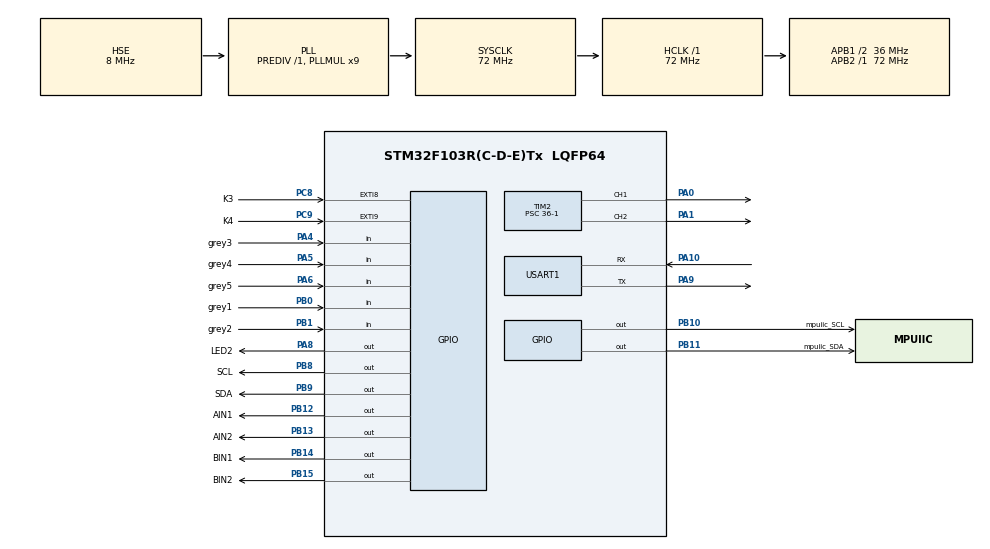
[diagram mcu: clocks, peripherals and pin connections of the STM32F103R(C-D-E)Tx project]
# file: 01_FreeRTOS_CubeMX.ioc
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Dma.Request0=USART1_RX
Dma.Request1=USART1_TX
Dma.USART1_RX.0.Direction=DMA_PERIPH_TO_MEMORY
Dma.USART1_RX.0.Instance=DMA1_Channel5
Dma.USART1_RX.0.MemDataAlignment=DMA_MDATAALIGN_BYTE
Dma.USART1_RX.0.MemInc=DMA_MINC_ENABLE
Dma.USART1_RX.0.Mode=DMA_NORMAL
Dma.USART1_RX.0.PeriphDataAlignment=DMA_PDATAALIGN_BYTE
Dma.USART1_RX.0.PeriphInc=DMA_PINC_DISABLE
Dma.USART1_RX.0.Priority=DMA_PRIORITY_LOW
Dma.USART1_TX.1.Direction=DMA_MEMORY_TO_PERIPH
Dma.USART1_TX.1.Instance=DMA1_Channel4
Dma.USART1_TX.1.MemDataAlignment=DMA_MDATAALIGN_BYTE
Dma.USART1_TX.1.MemInc=DMA_MINC_ENABLE
Dma.USART1_TX.1.Mode=DMA_NORMAL
Dma.USART1_TX.1.PeriphDataAlignment=DMA_PDATAALIGN_BYTE
Dma.USART1_TX.1.PeriphInc=DMA_PINC_DISABLE
Dma.USART1_TX.1.Priority=DMA_PRIORITY_LOW
FREERTOS.Tasks01=defaultTask,24,128,StartDefaultTask,Default,NULL,Dynamic,NULL,NULL
FREERTOS.configTIMER_TASK_PRIORITY=3
FREERTOS.configTOTAL_HEAP_SIZE=5200
Mcu.Family=STM32F1
Mcu.Name=STM32F103R(C-D-E)Tx
Mcu.Package=LQFP64
NVIC.DMA1_Channel4_IRQn=true\:5\:0\:false\:false\:true\:true\:false\:true
NVIC.DMA1_Channel5_IRQn=true\:5\:0\:false\:false\:true\:true\:false\:true
NVIC.EXTI9_5_IRQn=true\:5\:0\:true\:false\:true\:true\:true\:true
NVIC.PriorityGroup=NVIC_PRIORITYGROUP_4
NVIC.TIM6_IRQn=true\:15\:0\:false\:false\:true\:false\:false\:true
NVIC.TimeBase=TIM6_IRQn
NVIC.TimeBaseIP=TIM6
NVIC.USART1_IRQn=true\:5\:0\:false\:false\:true\:true\:true\:true
PA0-WKUP.Signal=S_TIM2_CH1_ETR
PA1.Signal=S_TIM2_CH2
PA10.GPIO_PuPd=GPIO_PULLUP
PA10.Mode=Asynchronous
PA10.Signal=USART1_RX
PA13.Mode=Serial_Wire
PA13.Signal=SYS_JTMS-SWDIO
PA14.Mode=Serial_Wire
PA14.Signal=SYS_JTCK-SWCLK
PA4.GPIO_Label=grey3
PA4.Signal=GPIO_Input
PA5.GPIO_Label=grey4
PA5.Signal=GPIO_Input
PA6.GPIO_Label=grey5
PA6.Signal=GPIO_Input
PA8.GPIO_Label=LED2
PA8.GPIO_Speed=GPIO_SPEED_FREQ_MEDIUM
PA8.PinState=GPIO_PIN_SET
PA8.Signal=GPIO_Output
PA9.Mode=Asynchronous
PA9.Signal=USART1_TX
PB0.GPIO_Label=grey1
PB0.GPIO_PuPd=GPIO_NOPULL
PB0.Signal=GPIO_Input
PB1.GPIO_Label=grey2
PB1.Signal=GPIO_Input
PB10.GPIO_Label=mpuiic_SCL
PB10.GPIO_Speed=GPIO_SPEED_FREQ_HIGH
PB10.PinState=GPIO_PIN_SET
PB10.Signal=GPIO_Output
PB11.GPIO_Label=mpuiic_SDA
PB11.GPIO_Speed=GPIO_SPEED_FREQ_HIGH
PB11.PinState=GPIO_PIN_SET
PB11.Signal=GPIO_Output
PB12.GPIO_Label=AIN1
PB12.GPIO_Speed=GPIO_SPEED_FREQ_HIGH
PB12.PinState=GPIO_PIN_RESET
PB12.Signal=GPIO_Output
PB13.GPIO_Label=AIN2
PB13.GPIO_Speed=GPIO_SPEED_FREQ_HIGH
PB13.PinState=GPIO_PIN_RESET
PB13.Signal=GPIO_Output
PB14.GPIO_Label=BIN1
PB14.GPIO_Speed=GPIO_SPEED_FREQ_HIGH
PB14.PinState=GPIO_PIN_SET
PB14.Signal=GPIO_Output
PB15.GPIO_Label=BIN2
PB15.GPIO_Speed=GPIO_SPEED_FREQ_HIGH
PB15.Signal=GPIO_Output
PB8.GPIO_Label=SCL
PB8.GPIO_ModeDefaultOutputPP=GPIO_MODE_OUTPUT_OD
PB8.GPIO_Speed=GPIO_SPEED_FREQ_HIGH
PB8.PinState=GPIO_PIN_SET
PB8.Signal=GPIO_Output
PB9.GPIO_Label=SDA
PB9.GPIO_ModeDefaultOutputPP=GPIO_MODE_OUTPUT_OD
PB9.GPIO_Speed=GPIO_SPEED_FREQ_HIGH
PB9.PinState=GPIO_PIN_SET
PB9.Signal=GPIO_Output
PC14-OSC32_IN.Mode=LSE-External-Oscillator
PC14-OSC32_IN.Signal=RCC_OSC32_IN
PC15-OSC32_OUT.Mode=LSE-External-Oscillator
PC15-OSC32_OUT.Signal=RCC_OSC32_OUT
PC8.GPIO_Label=K3
PC8.GPIO_ModeDefaultEXTI=GPIO_MODE_IT_RISING
PC8.GPIO_PuPd=GPIO_PULLUP
PC8.Signal=GPXTI8
PC9.GPIO_Label=K4
PC9.GPIO_PuPd=GPIO_PULLUP
PC9.Signal=GPXTI9
PD0-OSC_IN.Mode=HSE-External-Oscillator
PD0-OSC_IN.Signal=RCC_OSC_IN
PD1-OSC_OUT.Mode=HSE-External-Oscillator
PD1-OSC_OUT.Signal=RCC_OSC_OUT
ProjectManager.HeapSize=0x600
ProjectManager.StackSize=0x400
ProjectManager.TargetToolchain=MDK-ARM V5.32
RCC.AHBFreq_Value=72000000
RCC.APB1CLKDivider=RCC_HCLK_DIV2
RCC.APB1Freq_Value=36000000
RCC.APB1TimFreq_Value=72000000
RCC.APB2Freq_Value=72000000
RCC.APB2TimFreq_Value=72000000
RCC.HCLKFreq_Value=72000000
RCC.PLLMUL=RCC_PLL_MUL9
RCC.PLLSourceVirtual=RCC_PLLSOURCE_HSE
RCC.SYSCLKFreq_VALUE=72000000
RCC.SYSCLKSource=RCC_SYSCLKSOURCE_PLLCLK
RCC.USBFreq_Value=72000000
SH.S_TIM2_CH1_ETR.0=TIM2_CH1,PWM Generation1 CH1
SH.S_TIM2_CH2.0=TIM2_CH2,PWM Generation2 CH2
TIM2.AutoReloadPreload=TIM_AUTORELOAD_PRELOAD_DISABLE
TIM2.Channel-PWM\ Generation1\ CH1=TIM_CHANNEL_1
TIM2.Channel-PWM\ Generation2\ CH2=TIM_CHANNEL_2
TIM2.OCPolarity_2=TIM_OCPOLARITY_HIGH
TIM2.Period=100
TIM2.Prescaler=36-1
TIM2.Pulse-PWM\ Generation1\ CH1=0
TIM2.Pulse-PWM\ Generation2\ CH2=0
TIM7.AutoReloadPreload=TIM_AUTORELOAD_PRELOAD_ENABLE
USART1.VirtualMode=VM_ASYNC
VP_FREERTOS_VS_CMSIS_V2.Mode=CMSIS_V2
VP_SYS_VS_tim6.Mode=TIM6
VP_TIM2_VS_ClockSourceINT.Mode=Internal
VP_TIM7_VS_ClockSourceINT.Mode=Enable_Timer
board=custom

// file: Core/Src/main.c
/* USER CODE BEGIN Header */
/**
  ******************************************************************************
  * @file           : main.c
  * @brief          : Main program body
  ******************************************************************************
  * @attention
  *
  * <h2><center>&copy; Copyright (c) 2024 STMicroelectronics.
  * All rights reserved.</center></h2>
  *
  * This software component is licensed by ST under Ultimate Liberty license
  * SLA0044, the "License"; You may not use this file except in compliance with
  * the License. You may obtain a copy of the License at:
  *                             www.st.com/SLA0044
  *
  ******************************************************************************
  */
/* USER CODE END Header */
#include "main.h"
#include "cmsis_os.h"
#include "dma.h"
#include "tim.h"
#include "usart.h"
#include "gpio.h"

/* USER CODE BEGIN Includes */
#include "math.h"
#include "string.h"
#include "delay.h"
#include "FreeRTOS.h"
#include "semphr.h"
#include "task.h"
#include "queue.h"
#include "timers.h"
#include "list.h"
#include "serial.h"
#include "interrupt_callbacks.h"
#include "OLED.h"
#include "delay.h"
#include "stm32f1xx_hal_tim.h"
#include "stm32_hal_legacy.h"//�ɿ�
#include "MPU9250.h"                          //MPU9250(6050)
#include "inv_mpu.h"                          //
#include "inv_mpu_dmp_motion_driver.h"        //DMP输出库
#include "pid.h"
#include "greys.h"
/* USER CODE END Includes */

/* USER CODE BEGIN PTD */
xUSATR_TypeDef xUSART1={0} ;
u8 error;      //DMP库初始化错误号
float pitch,roll,yaw; 		//DMP库输出的欧拉角
float BaseSpeed=20;
uint8_t mode=0;                //小车模式 0表示停止，1走圈，2走八字
uint8_t SwitchCounts;      //记录小车状态切换的次数

/* USER CODE END PTD */

/* USER CODE BEGIN PV */
TaskHandle_t xTaskTrackHandle;
TaskHandle_t xTaskGoblankHandle;
TaskHandle_t xTaskCheckHandle;
TimerHandle_t xKeyFilteringTimer;
SemaphoreHandle_t xPrintfMutex;      //UART互斥量句柄

/* USER CODE END PV */

void SystemClock_Config(void);
void MX_FREERTOS_Init(void);

/* USER CODE BEGIN 0 */
static void TaskTrackFun(void*param);//巡线任务
static void TaskGoblankFun(void*param);//导航走直线任务
static void xTaskCheckFun(void*param);//检测小车状态切换的任务
void safe_printf(const char *format, ...) ;
void safe_printf_FromISR(const char *format, ...) ;
void vKeyFilteringTimerFunc( TimerHandle_t xTimer );
void my_prvHardwareSetup(void);//自己的硬件初始化函数
void SetAngle(float current_angle, float target_angle);//设置出发角度

/* USER CODE END 0 */

int main(void)
{

  /* MCU Configuration--------------------------------------------------------*/

  /* Reset of all peripherals, Initializes the Flash interface and the Systick. */
  HAL_Init();

  /* Configure the system clock */
  SystemClock_Config();

  /* Initialize all configured peripherals */
  MX_GPIO_Init();
  MX_TIM7_Init();
  MX_DMA_Init();
  MX_USART1_UART_Init();
  MX_TIM2_Init();
  /* USER CODE BEGIN 2 */
  /* 注意DMA初始化要在UART之前*/
	/*-------初始化自己的硬件代码(放在CubeMX的初始化之后)-----------------*/
	my_prvHardwareSetup();

	/*---------------------FreeRTOS的相关代码--------------------------------*/
	xKeyFilteringTimer=xTimerCreate("TimerKey",20,pdFALSE,0,vKeyFilteringTimerFunc);
	xPrintfMutex=xSemaphoreCreateMutex();
    xTaskCreate(TaskTrackFun,"Tracking",128,NULL,1,&xTaskTrackHandle);
    xTaskCreate(TaskGoblankFun,"Go Straight",128,NULL,1,&xTaskGoblankHandle);
	xTaskCreate(xTaskCheckFun,"Check the State",128,NULL,2,&xTaskCheckHandle);
    vTaskStartScheduler();//调度器不打开则无法运行任务和开启中断
	/*---------------------end--------------------------------*/
  /* USER CODE END 2 */

  /* Init scheduler */
  osKernelInitialize();  /* Call init function for freertos objects (in freertos.c) */
  MX_FREERTOS_Init();
  /* Start scheduler */
  osKernelStart();

  /* We should never get here as control is now taken by the scheduler */
  /* Infinite loop */
  /* USER CODE BEGIN WHILE */

  while (1)
  {

//		  HAL_GPIO_WritePin(LED2_GPIO_Port, LED2_Pin, GPIO_PIN_RESET);
//      Delay_ms(100);
//			HAL_GPIO_WritePin(LED2_GPIO_Port, LED2_Pin, GPIO_PIN_SET);
//      Delay_ms(600);
//		  	mpu_dmp_get_data(&pitch,&roll,&yaw);
//	      OLED_Printf(2,1,"yaw=%.3f",yaw);
//		HAL_UART_Transmit(&huart1, (uint8_t *)RxBuffer, 1,10);
//		delay_ms(1000);
    /* USER CODE END WHILE */

  }
}

void SystemClock_Config(void)
{
  RCC_OscInitTypeDef RCC_OscInitStruct = {0};
  RCC_ClkInitTypeDef RCC_ClkInitStruct = {0};

  /** Initializes the RCC Oscillators according to the specified parameters
  * in the RCC_OscInitTypeDef structure.
  */
  RCC_OscInitStruct.OscillatorType = RCC_OSCILLATORTYPE_HSE;
  RCC_OscInitStruct.HSEState = RCC_HSE_ON;
  RCC_OscInitStruct.HSEPredivValue = RCC_HSE_PREDIV_DIV1;
  RCC_OscInitStruct.HSIState = RCC_HSI_ON;
  RCC_OscInitStruct.PLL.PLLState = RCC_PLL_ON;
  RCC_OscInitStruct.PLL.PLLSource = RCC_PLLSOURCE_HSE;
  RCC_OscInitStruct.PLL.PLLMUL = RCC_PLL_MUL9;
  if (HAL_RCC_OscConfig(&RCC_OscInitStruct) != HAL_OK)
  {
    Error_Handler();
  }
  /** Initializes the CPU, AHB and APB buses clocks
  */
  RCC_ClkInitStruct.ClockType = RCC_CLOCKTYPE_HCLK|RCC_CLOCKTYPE_SYSCLK
                              |RCC_CLOCKTYPE_PCLK1|RCC_CLOCKTYPE_PCLK2;
  RCC_ClkInitStruct.SYSCLKSource = RCC_SYSCLKSOURCE_PLLCLK;
  RCC_ClkInitStruct.AHBCLKDivider = RCC_SYSCLK_DIV1;
  RCC_ClkInitStruct.APB1CLKDivider = RCC_HCLK_DIV2;
  RCC_ClkInitStruct.APB2CLKDivider = RCC_HCLK_DIV1;

  if (HAL_RCC_ClockConfig(&RCC_ClkInitStruct, FLASH_LATENCY_2) != HAL_OK)
  {
    Error_Handler();
  }
}

/* USER CODE BEGIN 4 */
static void TaskTrackFun(void*param)
{

  int CNT=0,differential=0;
   while(1)
  {

   if (mode == 0)
   {
      vMotorSetPWM(0, 0);//停车
      safe_printf("TaskTrack is Suspended\r\n");
	  OLED_Printf(3,11,"mode%d",mode);
	  vTaskSuspend(NULL);//模式0，任务挂起
   }
   else
   {
	   taskENTER_CRITICAL();//进入临界区

	   differential= Priority_Track(0);//调用巡线任务，获取差速值
	   vMotorSetPWM(BaseSpeed+differential,BaseSpeed-differential);//ͨ通过差速值控制PWM

	   taskEXIT_CRITICAL();//退出临界区

		// safe_printf("vleft=%.2f\n vright=%.2f\n",BaseSpeed+differential,BaseSpeed-differential);

		 OLED_Printf(1,1,"vl=%.1f  vr=%.1f",BaseSpeed+differential,BaseSpeed-differential);

		 //safe_printf("TaskTrack is running:%d \r\n",CNT++);
        vTaskDelay(pdMS_TO_TICKS(10));
   }

  }

}
static void TaskGoblankFun(void*param)
{

    int CNT=0;
    while(1)
    {

       if (mode == 0)
	   {

	      vMotorSetPWM(0, 0);//停车
	     safe_printf("TaskGoblank is Suspended\r\n");
		  vTaskSuspend(NULL);//模式0，任务挂起
		  OLED_Printf(3,11,"mode%d",mode);

	   }
       else if(mode == 1)
       {
         taskENTER_CRITICAL();//进入临界区

         mpu_dmp_get_data(&pitch,&roll,&yaw);//获取陀螺仪欧拉角
    	 if(SwitchCounts%4==0)//SwitchCounts==0,4,8,12,16......
    	    SetAngle(yaw,0);
    	 else if(SwitchCounts%2==0)//SwitchCounts==2,6,10,14,18......
    	    SetAngle(yaw,180);

         taskEXIT_CRITICAL();//退出临界区

		//safe_printf("taskGoblank is running mode%d\r\n ", mode);
		OLED_Printf(2,1,"yaw=%.2f",yaw);

    	 vTaskDelay(pdMS_TO_TICKS(10));

       }
       else if(mode==2)
       {
         taskENTER_CRITICAL();//进入临界区:获取当前角度和用当前角度控制电机必须同步

         mpu_dmp_get_data(&pitch,&roll,&yaw);//获取陀螺仪欧拉角
         if(SwitchCounts%4==0)//SwitchCounts==0,4,8,12,16......
    		 SetAngle(yaw,37);
    	 else if(SwitchCounts%2==0)//SwitchCounts==2,6,10,14,18......
    	    SetAngle(yaw,-143);

         taskEXIT_CRITICAL();//退出临界区

   		 //safe_printf("taskGoblank is running mode%d\r\n ", mode);
         OLED_Printf(2,1,"yaw=%.1f",yaw);
    	 vTaskDelay(pdMS_TO_TICKS(10));

       }
      else if(mode == 4) //陀螺仪调试模式
      {
         taskENTER_CRITICAL();//进入临界区:获取当前角度和用当前角度控制电机必须同步

         mpu_dmp_get_data(&pitch,&roll,&yaw);//获取陀螺仪欧拉角
         if(SwitchCounts%4==0)//SwitchCounts==0,4,8,12,16......
    		 SetAngle(yaw,0);
    	 else if(SwitchCounts%2==0)//SwitchCounts==2,6,10,14,18......
    	    SetAngle(yaw,180);

    	 taskEXIT_CRITICAL();//退出临界区
			  //safe_printf("taskGoblank is running mode%d\r\n ", mode);
    	 OLED_Printf(2,1,"yaw=%.2f",yaw);

    	 vTaskDelay(pdMS_TO_TICKS(10));

      }

		 }

}
static void xTaskCheckFun(void*param)
{
    int CNT=0;

    while(1)
	{
     if (mode == 0)
     {

         vMotorSetPWM(0, 0);//停车
         safe_printf("TaskCheck is Suspended\r\n");
		 vTaskSuspend(NULL);//模式0，任务挂起
		 OLED_Printf(3,11,"mode%d",mode);
     }
     else
     {
	     taskENTER_CRITICAL();//进入临界区
	     //printf("%.2f,%.2f,%.2f\n",sin(a++),b++,c++);//test vofa+

	     grey_state(&SwitchCounts);//判断小车当前状态
	     if(SwitchCounts%2==0) //SwitchCounts==0,2,4,6.....走直线
	     {
	       vTaskSuspend(xTaskTrackHandle);//挂起巡线任务
	       vTaskResume(xTaskGoblankHandle);//唤醒陀螺仪走直线任务

	     }
	     else //SwitchCounts==1,3,5,7.....巡线
	     {
	       vTaskSuspend(xTaskGoblankHandle);//挂起陀螺仪走直线任务
	       vTaskResume(xTaskTrackHandle);//唤醒巡线任务
	     }

	     taskEXIT_CRITICAL();//退出临界区

	    //safe_printf("TaskCheck is running:%d\r\n",CNT++);
	    OLED_Printf(3,1,"Switch=%d",SwitchCounts);

	     vTaskDelay(pdMS_TO_TICKS(20));//每20ms运行一次判断任务

     }

    }

}

//按键消抖后的处理函数
void vKeyFilteringTimerFunc(TimerHandle_t xTimer)
{
	 #if 1
    static uint8_t pressCount = 0;

    switch(keyStatus)
    {
        case KEY_K3:
        {
	         if (HAL_GPIO_ReadPin(K3_GPIO_Port,K3_Pin)==GPIO_PIN_SET)//读取按键电平
	         {
	             pressCount=(pressCount+1)%5;//pressCount++,mode++
	             safe_printf("mode%d\r\n",pressCount);
	             OLED_Printf(3,11 ,"mode%d",pressCount);

             }

            break;
        }

        case KEY_K4:
        {
            if (HAL_GPIO_ReadPin(K4_GPIO_Port,K4_Pin)==GPIO_PIN_SET)
            {
               taskENTER_CRITICAL();//进入临界区

               mode=pressCount;
               if(mode==1|| mode==2)
               {
                 vTaskResume(xTaskGoblankHandle);
				 vTaskResume(xTaskCheckHandle);
				 vTaskResume(xTaskTrackHandle);
			   }
               else if(mode==3)//寻迹调试模式
               {
                 vTaskSuspend(xTaskGoblankHandle);
                 vTaskSuspend(xTaskCheckHandle);
                 vTaskResume(xTaskTrackHandle);
               }
               else if(mode==4)//陀螺仪调试模式
               {
                 SwitchCounts=0;
                 vTaskSuspend(xTaskTrackHandle);
                 vTaskSuspend(xTaskCheckHandle);
                 vTaskResume(xTaskGoblankHandle);
               }

               taskEXIT_CRITICAL();//退出临界区

               safe_printf("mode%d is ready\r\n",mode);
             //  OLED_Printf(1,1 ,"mode%d is ready",mode);
            }
            break;
        }

        default:
            //其他情况，退出
            break;
    }

    keyStatus = NO_KEY;  //重置keyStatus
		#endif

}

/**
  * @brief  自己的硬件的初始化
  * @param  无
  * @retval 无
  */
void my_prvHardwareSetup(void)
{
	#if 1
    HAL_TIM_Base_Start(&htim2);    //开启时基，cubeMX初始化并不会开启定时器，需要我们手动打开使能定时器
    HAL_TIM_Base_Start(&htim7); //开启时基，cubeMX初始化并不会开启，需要我们手动打开使能定时器
	HAL_TIM_PWM_Start(&htim2,TIM_CHANNEL_1);//开启定时器2的PWM通道1的输出
	HAL_TIM_PWM_Start(&htim2,TIM_CHANNEL_2);//开启定时器2的PWM通道2的输出
	HAL_UARTEx_ReceiveToIdle_DMA(&huart1, xUSART1.BuffTemp, sizeof(xUSART1.BuffTemp));    //开启DMA接收完成中断，串口空闲中断

    PID_Init();                                  //PID初始化
	OLED_Init();                                 //OLED初始化
	MPU_Init();

	if(MPU_Init() == 0)			                 //初始化MPU9250(6050)
		printf("ID读取正常\r\n");                    //ID读取正常
	else
		printf("ID读取不正常\r\n");                  //ID读取不正常
	while(1)
	{

		error = mpu_dmp_init();                      //初始化mpu_dmp库
		printf("ERROR:%d\r\n",error);                //串口显示初始化错误值
		switch (error)                               //对不同错误值类型判断
		{
			case 0:printf("DMP库初始化正常\r\n");break;
			case 1:printf("设置传感器失败\r\n");break;
			case 2:printf("设置FIFO失败\r\n");break;
			case 3:printf("设置采样率失败\r\n");break;
			case 4:printf("加载dmp固件失败\r\n");break;
			case 5:printf("设置陀螺仪方向失败\r\n");break;
			case 6:printf("设置dmp功能失败\r\n");break;
			case 7:printf("设置DMP输出速率失败\r\n");break;
			case 8:printf("自检失败\r\n");break;
			case 9:printf("使能DMP失败\r\n");break;
			case 10:printf("初始化MPU6050失败\r\n");break;
			default :printf("未知错误\r\n");break;
		}

		if(error == 0)break;               //没有错误，退出循环
		delay_ms(200);
		OLED_Printf(1,1,"    ERROR:%d",error);

 }
	delay_ms(999); //MPU6050DMP初始化必须的延时
  #endif
}

/**
  * @brief  计算两个角度(-180~+180)之间的最短路径
  * @param  当前角度
  * @param  目标角度
  * @retval 当前角度到目标角度之间的最短路径
  */
double calculate_shortest_path(double current_angle, double target_angle)
{

    current_angle = fmod(current_angle + 180, 360) - 180;

    double angle_difference = target_angle - current_angle;

    if (fabs(angle_difference) < 180) {

        return angle_difference;
    } else {

        return (angle_difference > 0) ? -(360 - fabs(angle_difference)) : (360 - fabs(angle_difference));
    }
}

/**
  * @brief  设置出发时的目标角度
  * @param  current_angle 当前角度，由陀螺仪得出
  * @param  目标角度
  * @retval 无
  */
void SetAngle(float current_angle, float target_angle)
{
  float pid_output_max=30;//输出限幅

  float shortest_path=calculate_shortest_path(current_angle,target_angle);//计算最短路径
  int differential=PID_Position(&pidMPU6050, shortest_path);

  if(differential>pid_output_max)	differential=pid_output_max;
	if(differential<-pid_output_max)	differential=-pid_output_max;

  vMotorSetPWM(BaseSpeed+differential,BaseSpeed-differential);//设置PWM差速

}
// 封装的 printf 函数，线程安全
void safe_printf(const char *format, ...)
{
    xSemaphoreTake(xPrintfMutex, portMAX_DELAY);//获得互斥量

    va_list args;
    va_start(args, format);
    vprintf(format, args);  // 通过 vprintf 打印
    va_end(args);

    xSemaphoreGive(xPrintfMutex);//释放互斥量

}
void safe_printf_FromISR(const char *format, ...)
{
    BaseType_t xHigherPriorityTaskWoken = pdFALSE;

    xSemaphoreTakeFromISR(xPrintfMutex,&xHigherPriorityTaskWoken);

    va_list args;
    va_start(args, format);
    vprintf(format, args);  // 通过 vprintf 打印
    va_end(args);

    xSemaphoreGiveFromISR(xPrintfMutex,&xHigherPriorityTaskWoken);

    portYIELD_FROM_ISR(xHigherPriorityTaskWoken);//任务切换

}

/* USER CODE END 4 */

void HAL_TIM_PeriodElapsedCallback(TIM_HandleTypeDef *htim)
{
  if (htim->Instance == TIM6) {
    HAL_IncTick();
  }
}

void Error_Handler(void)
{
  __disable_irq();
  while (1)
  {
  }
}

/************************ (C) COPYRIGHT STMicroelectronics *****END OF FILE****/
